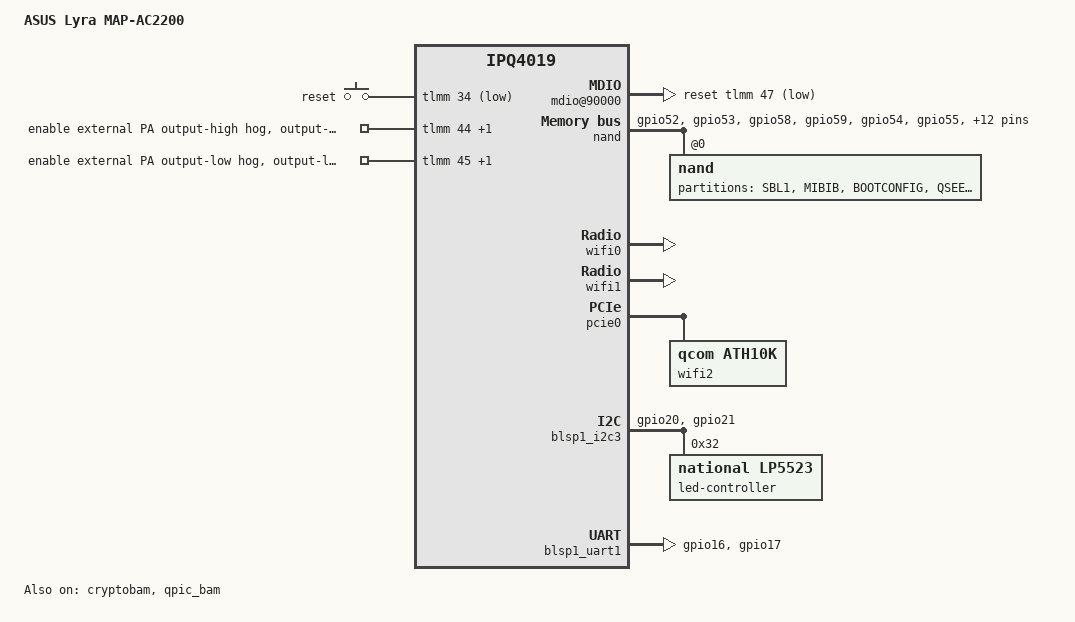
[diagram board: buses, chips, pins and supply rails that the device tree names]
// SPDX-License-Identifier: GPL-2.0-or-later OR MIT

#include "qcom-ipq4019.dtsi"
#include <dt-bindings/gpio/gpio.h>
#include <dt-bindings/input/input.h>
#include <dt-bindings/soc/qcom,tcsr.h>
#include <dt-bindings/leds/common.h>

/ {
	model = "ASUS Lyra MAP-AC2200";
	compatible = "asus,map-ac2200";

	aliases {
		led-boot = &led_blue0;
		led-failsafe = &led_red0;
		led-running = &led_blue0;
		led-upgrade = &led_red0;
	};

	soc {
		rng@22000 {
			status = "okay";
		};

		mdio@90000 {
			status = "okay";
			pinctrl-0 = <&mdio_pins>;
			pinctrl-names = "default";
			reset-gpios = <&tlmm 47 GPIO_ACTIVE_LOW>;
			reset-delay-us = <1000>;
		};

		ess-psgmii@98000 {
			status = "okay";
		};

		tcsr@1949000 {
			compatible = "qcom,tcsr";
			reg = <0x1949000 0x100>;
			qcom,wifi_glb_cfg = <TCSR_WIFI_GLB_CFG>;
		};

		ess_tcsr@1953000 {
			compatible = "qcom,tcsr";
			reg = <0x1953000 0x1000>;
			qcom,ess-interface-select = <TCSR_ESS_PSGMII>;
		};

		tcsr@1957000 {
			compatible = "qcom,tcsr";
			reg = <0x1957000 0x100>;
			qcom,wifi_noc_memtype_m0_m2 = <TCSR_WIFI_NOC_MEMTYPE_M0_M2>;
		};

		crypto@8e3a000 {
			status = "okay";
		};

		watchdog@b017000 {
			status = "okay";
		};

		ess-switch@c000000 {
			status = "okay";
		};

		edma@c080000 {
			status = "okay";
		};
	};

	keys {
		compatible = "gpio-keys";

		reset {
			label = "reset";
			gpios = <&tlmm 34 GPIO_ACTIVE_LOW>;
			linux,code = <KEY_RESTART>;
		};
	};
};

&nand {
	pinctrl-0 = <&nand_pins>;
	pinctrl-names = "default";
	status = "okay";

	nand@0 {
		partitions {
			compatible = "fixed-partitions";
			#address-cells = <1>;
			#size-cells = <1>;

			partition@0 {
				label = "SBL1";
				reg = <0x0 0x100000>;
				read-only;
			};

			partition@100000 {
				label = "MIBIB";
				reg = <0x100000 0x100000>;
				read-only;
			};

			partition@200000 {
				label = "BOOTCONFIG";
				reg = <0x200000 0x100000>;
			};

			partition@300000 {
				label = "QSEE";
				reg = <0x300000 0x100000>;
				read-only;
			};

			partition@400000 {
				label = "QSEE_1";
				reg = <0x400000 0x100000>;
				read-only;
			};

			partition@500000 {
				label = "CDT";
				reg = <0x500000 0x80000>;
				read-only;
			};

			partition@580000 {
				label = "CDT_1";
				reg = <0x580000 0x80000>;
				read-only;
			};

			partition@600000 {
				label = "BOOTCONFIG1";
				reg = <0x600000 0x80000>;
			};

			partition@680000 {
				label = "APPSBLENV";
				reg = <0x680000 0x80000>;
			};

			partition@700000 {
				label = "APPSBL";
				reg = <0x700000 0x200000>;
				read-only;
			};

			partition@900000 {
				label = "APPSBL_1";
				reg = <0x900000 0x200000>;
				read-only;
			};

			art: partition@b00000 {
				label = "ART";
				reg = <0xb00000 0x80000>;
				read-only;
			};

			partition@b80000 {
				label = "ubi";
				reg = <0xb80000 0x7480000>;
			};
		};
	};
};

&tlmm {
	i2c_0_pins: i2c_0_pinmux {
		pinmux {
			function = "blsp_i2c0";
			pins = "gpio20", "gpio21";
			drive-strength = <16>;
			bias-disable;
		};
	};

	serial_pins: serial_pinmux {
		mux {
			pins = "gpio16", "gpio17";
			function = "blsp_uart0";
			bias-disable;
		};
	};

	nand_pins: nand_pins {
		pullups {
			pins =	"gpio52", "gpio53", "gpio58",
				"gpio59";
			function = "qpic";
			bias-pull-up;
		};

		pulldowns {
			pins =	"gpio54", "gpio55", "gpio56",
				"gpio57", "gpio60", "gpio61",
				"gpio62", "gpio63", "gpio64",
				"gpio65", "gpio66", "gpio67",
				"gpio68", "gpio69";
			function = "qpic";
			bias-pull-down;
		};
	};
	enable_ext_pa_high {
		gpio-hog;
		gpios = <44 GPIO_ACTIVE_HIGH>,
			<46 GPIO_ACTIVE_HIGH>;
		output-high;
		bias-pull-down;
		line-name = "enable external PA output-high";
	};
	enable_ext_pa_low {
		gpio-hog;
		gpios = <45 GPIO_ACTIVE_HIGH>,
			<47 GPIO_ACTIVE_HIGH>;
		output-low;
		bias-pull-down;
		line-name = "enable external PA output-low";
	};
};

&cryptobam {
	status = "okay";
};

&blsp_dma {
	status = "okay";
};

&qpic_bam {
	status = "okay";
};

&wifi0 {
	status = "okay";
	qcom,ath10k-calibration-variant = "ASUS-MAP-AC2200";
};

&wifi1 {
	status = "okay";
	qcom,ath10k-calibration-variant = "ASUS-MAP-AC2200";
};

&pcie0 {
	status = "okay";
	perst-gpio = <&tlmm 38 GPIO_ACTIVE_LOW>;
	wake-gpio = <&tlmm 50 GPIO_ACTIVE_LOW>;

	bridge@0,0 {
		reg = <0x00000000 0 0 0 0>;
		#address-cells = <3>;
		#size-cells = <2>;
		ranges;

		wifi2: wifi@1,0 {
			compatible = "qcom,ath10k";
			status = "okay";
			reg = <0x00010000 0 0 0 0>;
			qcom,ath10k-calibration-variant = "ASUS-MAP-AC2200";
			ieee80211-freq-limit = <5000000 6000000>;
		};
	};
};

&blsp1_i2c3 {
	pinctrl-0 = <&i2c_0_pins>;
	pinctrl-names = "default";
	status = "okay";

	led-controller@32 {
		/* 9-channel RGB LED controller */
		compatible = "national,lp5523";
		reg = <0x32>;
		clock-mode = /bits/ 8 <1>;
		#address-cells = <1>;
		#size-cells = <0>;

		/*
		 * There is only one single extremely bright RGB-LED.
		 * The RGB-color channels are running in parallel to
		 * increase the current delivery capabilities beyond
		 * what a single PWM-output of the controller can do.
		 */

		led_blue0: led@0 {
			chan-name = "blue-0";
			led-cur = /bits/ 8 <0xfa>;
			max-cur = /bits/ 8 <0xff>;
			reg = <0>;
			color = <LED_COLOR_ID_BLUE>;
			function-enumerator = <0>;
		};

		led@1 {
			chan-name = "blue-1";
			led-cur = /bits/ 8 <0xfa>;
			max-cur = /bits/ 8 <0xff>;
			reg = <1>;
			color = <LED_COLOR_ID_BLUE>;
			function-enumerator = <1>;
		};

		led@2 {
			chan-name = "blue-2";
			led-cur = /bits/ 8 <0xfa>;
			max-cur = /bits/ 8 <0xff>;
			reg = <2>;
			color = <LED_COLOR_ID_BLUE>;
			function-enumerator = <2>;
		};

		led_green0: led@3 {
			chan-name = "green-0";
			led-cur = /bits/ 8 <0xfa>;
			max-cur = /bits/ 8 <0xff>;
			reg = <3>;
			color = <LED_COLOR_ID_GREEN>;
			function-enumerator = <0>;
		};

		led@4 {
			chan-name = "green-1";
			led-cur = /bits/ 8 <0xfa>;
			max-cur = /bits/ 8 <0xff>;
			reg = <4>;
			color = <LED_COLOR_ID_GREEN>;
			function-enumerator = <1>;
		};

		led@5 {
			chan-name = "green-2";
			led-cur = /bits/ 8 <0xfa>;
			max-cur = /bits/ 8 <0xff>;
			reg = <5>;
			color = <LED_COLOR_ID_GREEN>;
			function-enumerator = <2>;
		};

		led_red0: led@6 {
			chan-name = "red-0";
			led-cur = /bits/ 8 <0xfa>;
			max-cur = /bits/ 8 <0xff>;
			reg = <6>;
			color = <LED_COLOR_ID_RED>;
			function-enumerator = <0>;
		};

		led@7 {
			chan-name = "red-1";
			led-cur = /bits/ 8 <0xfa>;
			max-cur = /bits/ 8 <0xff>;
			reg = <7>;
			color = <LED_COLOR_ID_RED>;
			function-enumerator = <1>;
		};

		led@8 {
			chan-name = "red-2";
			led-cur = /bits/ 8 <0xfa>;
			max-cur = /bits/ 8 <0xff>;
			reg = <8>;
			color = <LED_COLOR_ID_RED>;
			function-enumerator = <2>;
		};
	};
};

&blsp1_uart1 {
	pinctrl-0 = <&serial_pins>;
	pinctrl-names = "default";
	status = "okay";
};
